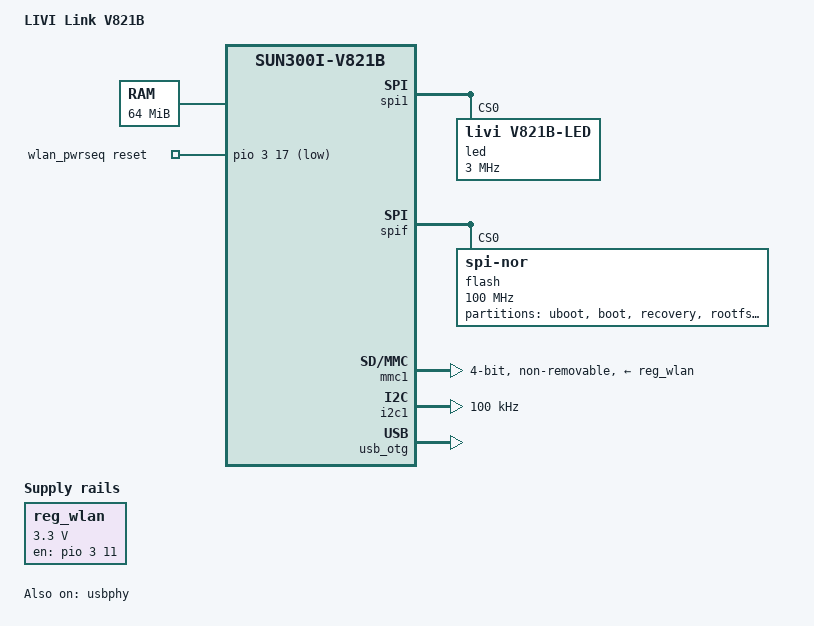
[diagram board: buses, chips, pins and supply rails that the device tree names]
// SPDX-License-Identifier: GPL-2.0
/*
 * LIVI Link on the V821B dongle board: AIC8800D80 on SDIO, 64 MiB DDR2, 16 MiB SPI NOR.
 * The vendor U-Boot loads this DTB from the boot image next to the kernel.
 */
/dts-v1/;

#include <dt-bindings/gpio/gpio.h>
#include "sun300i-v821b.dtsi"

/ {
	model = "LIVI Link V821B";
	compatible = "livi,link-v821b", "allwinner,sun300i-v821b";

	aliases {
		i2c1 = &i2c1;
		spi1 = &spi1;
	};

	memory@80000000 {
		device_type = "memory";
		reg = <0x0 0x80000000 0x0 0x4000000>;
	};

	reserved-memory {
		#address-cells = <2>;
		#size-cells = <2>;
		ranges;

		/*
		 * The vendor OpenSBI runs here and guards it with PMP, a store from Linux faults. The efuse
		 * copy boot0 leaves for the kernel sits at its end.
		 */
		opensbi@80fc0000 {
			reg = <0x0 0x80fc0000 0x0 0x40000>;
			no-map;
		};
	};

	/* Module enable, high before the SDIO slot is scanned. */
	reg_wlan: regulator-wlan {
		compatible = "regulator-fixed";
		regulator-name = "wlan";
		regulator-min-microvolt = <3300000>;
		regulator-max-microvolt = <3300000>;
		gpio = <&pio 3 11 GPIO_ACTIVE_HIGH>;
		enable-active-high;
		startup-delay-us = <200000>;
	};

	wlan_pwrseq: wlan-pwrseq {
		compatible = "mmc-pwrseq-simple";
		reset-gpios = <&pio 3 17 GPIO_ACTIVE_LOW>;
		post-power-on-delay-ms = <100>;
	};
};

/* The LED chain only needs MOSI. */
&spi1 {
	pinctrl-names = "default";
	pinctrl-0 = <&spi1_pd13_pin>;
	status = "okay";

	led@0 {
		compatible = "livi,v821b-led";
		reg = <0>;
		spi-max-frequency = <3000000>;
	};
};

&spif {
	status = "okay";

	flash@0 {
		compatible = "jedec,spi-nor";
		reg = <0>;
		spi-max-frequency = <100000000>;
		spi-rx-bus-width = <4>;
		spi-tx-bus-width = <4>;

		/* The offsets the vendor U-Boot and the web updater use, mtd0 to mtd9. */
		partitions {
			compatible = "fixed-partitions";
			#address-cells = <1>;
			#size-cells = <1>;

			partition@0 {
				label = "uboot";
				reg = <0x000000 0x060000>;
				read-only;
			};

			partition@60000 {
				label = "boot";
				reg = <0x060000 0x310000>;
			};

			partition@370000 {
				label = "recovery";
				reg = <0x370000 0x310000>;
			};

			partition@680000 {
				label = "rootfs";
				reg = <0x680000 0x480000>;
			};

			partition@b00000 {
				label = "customer";
				reg = <0xb00000 0x3a0000>;
			};

			partition@ea0000 {
				label = "env";
				reg = <0xea0000 0x010000>;
			};

			partition@eb0000 {
				label = "env-redund";
				reg = <0xeb0000 0x010000>;
			};

			partition@ec0000 {
				label = "private";
				reg = <0xec0000 0x010000>;
			};

			partition@ed0000 {
				label = "logo";
				reg = <0xed0000 0x0b0000>;
			};

			partition@f80000 {
				label = "UDISK";
				reg = <0xf80000 0x080000>;
			};
		};
	};
};

&mmc1 {
	bus-width = <4>;
	max-frequency = <50000000>;
	non-removable;
	cap-sd-highspeed;
	cap-sdio-irq;
	keep-power-in-suspend;
	no-mmc;
	no-sd;
	vmmc-supply = <&reg_wlan>;
	mmc-pwrseq = <&wlan_pwrseq>;
	status = "okay";
};

/* The MFi coprocessor. */
&i2c1 {
	pinctrl-names = "default";
	pinctrl-0 = <&twi1_pd_pins>;
	clock-frequency = <100000>;
	status = "okay";
};

&usb_otg {
	status = "okay";
};

&usbphy {
	status = "okay";
};
